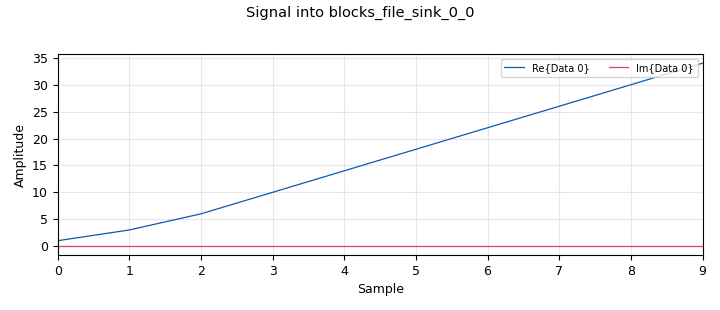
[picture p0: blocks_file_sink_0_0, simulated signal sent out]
<?xml version='1.0' encoding='utf-8'?>
<?grc format='1' created='3.7.9'?>
<flow_graph>
<block>
<key>options</key>
<param><key>id</key><value>top_block</value></param>
<param><key>category</key><value>Custom</value></param>
<param><key>generate_options</key><value>no_gui</value></param>
</block>
<block>
<key>variable</key>
<param><key>id</key><value>samp_rate</value></param>
<param><key>value</key><value>32000</value></param>
</block>
<block>
<key>blocks_file_sink</key>
<param><key>id</key><value>blocks_file_sink_0</value></param>
<param><key>file</key><value>/home/travis/Dropbox/PHD/DataTest/cic_out.txt</value></param>
<param><key>type</key><value>complex</value></param>
</block>
<block>
<key>blocks_file_sink</key>
<param><key>id</key><value>blocks_file_sink_0_0</value></param>
<param><key>file</key><value>/home/travis/Dropbox/PHD/DataTest/ma_out.txt</value></param>
<param><key>type</key><value>complex</value></param>
</block>
<block>
<key>blocks_moving_average_xx</key>
<param><key>id</key><value>blocks_moving_average_xx_0</value></param>
<param><key>length</key><value>4</value></param>
<param><key>max_iter</key><value>4000</value></param>
<param><key>scale</key><value>1</value></param>
<param><key>type</key><value>complex</value></param>
</block>
<block>
<key>blocks_vector_source_x</key>
<param><key>id</key><value>blocks_vector_source_x_0</value></param>
<param><key>type</key><value>complex</value></param>
<param><key>repeat</key><value>False</value></param>
<param><key>vector</key><value>(1,2,3,4,5,6,7,8,9,10)</value></param>
</block>
<block>
<key>dpd_cic_moving_average_cc</key>
<param><key>id</key><value>dpd_cic_moving_average_cc_0</value></param>
<param><key>window_len</key><value>4</value></param>
</block>
<connection><source_block_id>blocks_moving_average_xx_0</source_block_id><sink_block_id>blocks_file_sink_0_0</sink_block_id><source_key>0</source_key><sink_key>0</sink_key></connection>
<connection><source_block_id>blocks_vector_source_x_0</source_block_id><sink_block_id>blocks_moving_average_xx_0</sink_block_id><source_key>0</source_key><sink_key>0</sink_key></connection>
<connection><source_block_id>blocks_vector_source_x_0</source_block_id><sink_block_id>dpd_cic_moving_average_cc_0</sink_block_id><source_key>0</source_key><sink_key>0</sink_key></connection>
<connection><source_block_id>dpd_cic_moving_average_cc_0</source_block_id><sink_block_id>blocks_file_sink_0</sink_block_id><source_key>0</source_key><sink_key>0</sink_key></connection>
</flow_graph>
